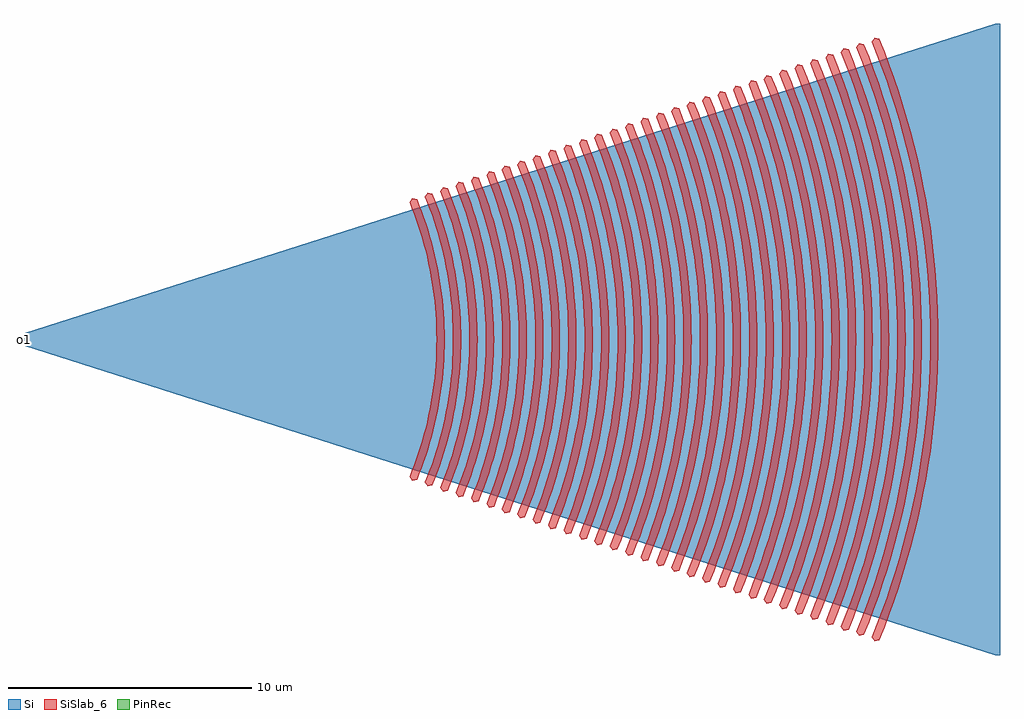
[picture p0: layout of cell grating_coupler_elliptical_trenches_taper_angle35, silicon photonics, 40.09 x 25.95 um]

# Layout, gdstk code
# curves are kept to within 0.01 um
import gdstk
lib = gdstk.Library(unit=1e-6, precision=1e-09)
def P(c, l, *ps):  # polygons
    for p in ps: c.add(gdstk.Polygon(p, *l))
Si = (1, 0)
PinRec = (1, 10)
SiSlab_6 = (2, 6)

grating_coupler_elliptic = lib.new_cell('grating_coupler_elliptical_trenches_taper_angle35')
P(grating_coupler_elliptic, Si, [(0.471,-0.25),(0.471,0.25),(40.352,12.973),(40.552,12.973),(40.552,-12.973),(40.352,-12.973)])
P(grating_coupler_elliptic, SiSlab_6, [(16.414,-5.811),(16.3,-5.646),(16.58,-4.905),(16.82,-4.153),(17.02,-3.389),(17.178,-2.617),(17.296,-1.836),(17.351,-1.313),(17.401,-0.526),(17.409,0),(17.401,0.526),(17.351,1.313),(17.296,1.836),(17.178,2.617),(17.02,3.389),(16.82,4.153),(16.58,4.905),(16.3,5.646),(16.414,5.811),(16.61,5.77),(16.981,4.76),(17.14,4.247),(17.344,3.465),(17.506,2.675),(17.658,1.611),(17.721,0.806),(17.743,0),(17.721,-0.806),(17.658,-1.611),(17.506,-2.675),(17.344,-3.465),(17.14,-4.247),(16.981,-4.76),(16.61,-5.77)],
  [(17.047,-6.03),(16.933,-5.866),(17.224,-5.096),(17.473,-4.315),(17.68,-3.521),(17.845,-2.718),(17.968,-1.907),(18.025,-1.364),(18.064,-0.819),(18.085,0),(18.064,0.819),(18.025,1.364),(17.968,1.907),(17.845,2.718),(17.68,3.521),(17.473,4.315),(17.224,5.096),(16.933,5.866),(17.047,6.03),(17.243,5.988),(17.444,5.469),(17.793,4.407),(18.066,3.325),(18.219,2.501),(18.33,1.671),(18.396,0.837),(18.419,0),(18.396,-0.837),(18.33,-1.671),(18.219,-2.501),(18.066,-3.325),(17.793,-4.407),(17.444,-5.469),(17.243,-5.988)],
  [(17.68,-6.25),(17.566,-6.086),(17.868,-5.287),(18.126,-4.477),(18.341,-3.653),(18.512,-2.82),(18.602,-2.261),(18.699,-1.415),(18.752,-0.567),(18.761,0),(18.752,0.567),(18.699,1.415),(18.602,2.261),(18.512,2.82),(18.341,3.653),(18.126,4.477),(17.868,5.287),(17.566,6.086),(17.68,6.25),(17.876,6.208),(17.982,5.94),(18.182,5.397),(18.363,4.846),(18.524,4.291),(18.665,3.729),(18.84,2.878),(18.932,2.307),(19.003,1.733),(19.071,0.868),(19.095,0),(19.071,-0.868),(19.003,-1.733),(18.932,-2.307),(18.84,-2.878),(18.665,-3.729),(18.524,-4.291),(18.363,-4.846),(18.182,-5.397),(17.982,-5.94),(17.876,-6.208)],
  [(18.313,-6.469),(18.199,-6.304),(18.512,-5.478),(18.779,-4.638),(19.002,-3.785),(19.179,-2.922),(19.311,-2.051),(19.373,-1.466),(19.428,-0.587),(19.437,0),(19.428,0.587),(19.373,1.466),(19.311,2.051),(19.179,2.922),(19.002,3.785),(18.779,4.638),(18.512,5.478),(18.199,6.304),(18.313,6.469),(18.509,6.428),(18.619,6.15),(18.826,5.588),(19.013,5.018),(19.18,4.441),(19.326,3.861),(19.507,2.98),(19.602,2.388),(19.676,1.794),(19.746,0.898),(19.771,0),(19.746,-0.898),(19.676,-1.794),(19.602,-2.388),(19.507,-2.98),(19.326,-3.861),(19.18,-4.441),(19.013,-5.018),(18.826,-5.588),(18.619,-6.15),(18.509,-6.428)],
  [(18.946,-6.689),(18.832,-6.525),(19.155,-5.668),(19.432,-4.8),(19.663,-3.917),(19.846,-3.024),(19.983,-2.121),(20.046,-1.517),(20.09,-0.911),(20.113,0),(20.09,0.911),(20.046,1.517),(19.983,2.121),(19.846,3.024),(19.663,3.917),(19.432,4.8),(19.155,5.668),(18.832,6.525),(18.946,6.689),(19.142,6.647),(19.365,6.07),(19.569,5.485),(19.752,4.892),(20.055,3.69),(20.225,2.776),(20.349,1.855),(20.422,0.929),(20.447,0),(20.422,-0.929),(20.349,-1.855),(20.225,-2.776),(20.055,-3.69),(19.752,-4.892),(19.569,-5.485),(19.365,-6.07),(19.142,-6.647)],
  [(19.579,-6.908),(19.465,-6.744),(19.799,-5.859),(20.085,-4.961),(20.324,-4.048),(20.513,-3.125),(20.654,-2.194),(20.72,-1.568),(20.779,-0.628),(20.789,0),(20.779,0.628),(20.72,1.568),(20.654,2.194),(20.513,3.125),(20.324,4.048),(20.085,4.961),(19.799,5.859),(19.465,6.744),(19.579,6.908),(19.775,6.866),(20.005,6.27),(20.216,5.666),(20.405,5.053),(20.572,4.436),(20.718,3.812),(20.894,2.868),(21.021,1.917),(21.097,0.96),(21.123,0),(21.097,-0.96),(21.021,-1.917),(20.894,-2.868),(20.718,-3.812),(20.572,-4.436),(20.405,-5.053),(20.216,-5.666),(20.005,-6.27),(19.775,-6.866)],
  [(20.212,-7.128),(20.098,-6.964),(20.443,-6.05),(20.738,-5.123),(20.984,-4.18),(21.18,-3.227),(21.326,-2.265),(21.394,-1.619),(21.44,-0.972),(21.465,0),(21.44,0.972),(21.394,1.619),(21.326,2.265),(21.18,3.227),(20.984,4.18),(20.738,5.123),(20.443,6.05),(20.098,6.964),(20.212,7.128),(20.408,7.086),(20.646,6.471),(20.863,5.847),(21.058,5.215),(21.23,4.578),(21.381,3.934),(21.563,2.959),(21.694,1.978),(21.772,0.99),(21.799,0),(21.772,-0.99),(21.694,-1.978),(21.563,-2.959),(21.381,-3.934),(21.23,-4.578),(21.058,-5.215),(20.863,-5.847),(20.646,-6.471),(20.408,-7.086)],
  [(20.844,-7.347),(20.73,-7.182),(21.087,-6.241),(21.391,-5.284),(21.645,-4.312),(21.847,-3.329),(21.953,-2.668),(22.068,-1.67),(22.13,-0.669),(22.141,0),(22.13,0.669),(22.068,1.67),(21.953,2.668),(21.847,3.329),(21.645,4.312),(21.391,5.284),(21.087,6.241),(20.73,7.182),(20.844,7.347),(21.04,7.306),(21.286,6.672),(21.51,6.028),(21.711,5.376),(21.889,4.719),(22.044,4.056),(22.231,3.051),(22.367,2.039),(22.447,1.021),(22.475,0),(22.447,-1.021),(22.367,-2.039),(22.231,-3.051),(22.044,-4.056),(21.889,-4.719),(21.711,-5.376),(21.51,-6.028),(21.286,-6.672),(21.04,-7.306)],
  [(21.477,-7.567),(21.363,-7.402),(21.73,-6.432),(22.044,-5.446),(22.306,-4.444),(22.514,-3.431),(22.669,-2.407),(22.741,-1.721),(22.806,-0.689),(22.817,0),(22.806,0.689),(22.741,1.721),(22.669,2.407),(22.514,3.431),(22.306,4.444),(22.044,5.446),(21.73,6.432),(21.363,7.402),(21.477,7.567),(21.673,7.526),(21.926,6.871),(22.157,6.209),(22.364,5.538),(22.547,4.861),(22.707,4.177),(22.9,3.143),(23.04,2.1),(23.122,1.052),(23.151,0),(23.122,-1.052),(23.04,-2.1),(22.9,-3.143),(22.707,-4.177),(22.547,-4.861),(22.364,-5.538),(22.157,-6.209),(21.926,-6.871),(21.673,-7.526)],
  [(22.11,-7.786),(21.996,-7.621),(22.374,-6.622),(22.697,-5.607),(22.967,-4.576),(23.181,-3.533),(23.341,-2.48),(23.415,-1.773),(23.466,-1.064),(23.493,0),(23.466,1.064),(23.415,1.773),(23.341,2.48),(23.181,3.533),(22.967,4.576),(22.697,5.607),(22.374,6.622),(21.996,7.621),(22.11,7.786),(22.306,7.745),(22.566,7.072),(22.804,6.39),(23.017,5.699),(23.206,5.003),(23.37,4.299),(23.569,3.234),(23.712,2.161),(23.798,1.082),(23.827,0),(23.798,-1.082),(23.712,-2.161),(23.569,-3.234),(23.37,-4.299),(23.206,-5.003),(23.017,-5.699),(22.804,-6.39),(22.566,-7.072),(22.306,-7.745)],
  [(22.743,-8.006),(22.629,-7.842),(23.018,-6.813),(23.35,-5.769),(23.628,-4.708),(23.848,-3.634),(23.964,-2.913),(24.089,-1.824),(24.141,-1.095),(24.169,0),(24.141,1.095),(24.089,1.824),(23.964,2.913),(23.848,3.634),(23.628,4.708),(23.35,5.769),(23.018,6.813),(22.629,7.842),(22.743,8.006),(22.939,7.964),(23.207,7.273),(23.451,6.571),(23.67,5.861),(23.864,5.145),(24.033,4.421),(24.238,3.326),(24.385,2.223),(24.473,1.113),(24.503,0),(24.473,-1.113),(24.385,-2.223),(24.238,-3.326),(24.033,-4.421),(23.864,-5.145),(23.67,-5.861),(23.451,-6.571),(23.207,-7.273),(22.939,-7.964)],
  [(23.376,-8.225),(23.262,-8.06),(23.662,-7.004),(24.003,-5.93),(24.289,-4.839),(24.515,-3.736),(24.684,-2.622),(24.763,-1.875),(24.833,-0.751),(24.845,0),(24.833,0.751),(24.763,1.875),(24.684,2.622),(24.515,3.736),(24.289,4.839),(24.003,5.93),(23.662,7.004),(23.262,8.06),(23.376,8.225),(23.572,8.184),(23.847,7.474),(24.098,6.752),(24.323,6.022),(24.522,5.286),(24.696,4.543),(24.906,3.418),(25.058,2.284),(25.148,1.144),(25.179,0),(25.148,-1.144),(25.058,-2.284),(24.906,-3.418),(24.696,-4.543),(24.522,-5.286),(24.323,-6.022),(24.098,-6.752),(23.847,-7.474),(23.572,-8.184)],
  [(24.009,-8.445),(23.895,-8.28),(24.305,-7.195),(24.657,-6.092),(24.949,-4.971),(25.182,-3.838),(25.355,-2.693),(25.436,-1.926),(25.508,-0.771),(25.521,0),(25.508,0.771),(25.436,1.926),(25.355,2.693),(25.182,3.838),(24.949,4.971),(24.657,6.092),(24.305,7.195),(23.895,8.28),(24.009,8.445),(24.205,8.404),(24.619,7.305),(24.977,6.184),(25.181,5.428),(25.359,4.665),(25.575,3.509),(25.731,2.346),(25.823,1.174),(25.855,0),(25.823,-1.174),(25.731,-2.346),(25.575,-3.509),(25.359,-4.665),(25.181,-5.428),(24.977,-6.184),(24.619,-7.305),(24.205,-8.404)],
  [(24.642,-8.664),(24.528,-8.499),(24.949,-7.386),(25.31,-6.253),(25.61,-5.103),(25.849,-3.94),(26.027,-2.764),(26.11,-1.977),(26.184,-0.792),(26.197,0),(26.184,0.792),(26.11,1.977),(26.027,2.764),(25.849,3.94),(25.61,5.103),(25.31,6.253),(24.949,7.386),(24.528,8.499),(24.642,8.664),(24.838,8.623),(25.263,7.496),(25.63,6.345),(25.839,5.57),(26.022,4.787),(26.244,3.601),(26.404,2.407),(26.498,1.205),(26.531,0),(26.498,-1.205),(26.404,-2.407),(26.244,-3.601),(26.022,-4.787),(25.839,-5.57),(25.63,-6.345),(25.263,-7.496),(24.838,-8.623)],
  [(25.275,-8.884),(25.161,-8.72),(25.593,-7.576),(25.963,-6.415),(26.271,-5.235),(26.516,-4.041),(26.645,-3.239),(26.784,-2.028),(26.86,-0.812),(26.873,0),(26.86,0.812),(26.784,2.028),(26.645,3.239),(26.516,4.041),(26.271,5.235),(25.963,6.415),(25.593,7.576),(25.161,8.72),(25.275,8.884),(25.471,8.842),(25.907,7.686),(26.283,6.507),(26.498,5.712),(26.686,4.908),(26.912,3.693),(27.076,2.468),(27.174,1.236),(27.207,0),(27.174,-1.236),(27.076,-2.468),(26.912,-3.693),(26.686,-4.908),(26.498,-5.712),(26.283,-6.507),(25.907,-7.686),(25.471,-8.842)],
  [(25.908,-9.103),(25.794,-8.939),(26.237,-7.767),(26.616,-6.576),(26.932,-5.367),(27.183,-4.143),(27.315,-3.321),(27.458,-2.079),(27.517,-1.248),(27.549,0),(27.517,1.248),(27.458,2.079),(27.315,3.321),(27.183,4.143),(26.932,5.367),(26.616,6.576),(26.237,7.767),(25.794,8.939),(25.908,9.103),(26.104,9.061),(26.551,7.877),(26.936,6.668),(27.156,5.853),(27.349,5.03),(27.581,3.784),(27.749,2.529),(27.849,1.266),(27.883,0),(27.849,-1.266),(27.749,-2.529),(27.581,-3.784),(27.349,-5.03),(27.156,-5.853),(26.936,-6.668),(26.551,-7.877),(26.104,-9.061)],
  [(26.54,-9.323),(26.426,-9.158),(26.88,-7.958),(27.269,-6.738),(27.593,-5.498),(27.85,-4.245),(28.042,-2.978),(28.131,-2.13),(28.211,-0.853),(28.225,0),(28.211,0.853),(28.131,2.13),(28.042,2.978),(27.85,4.245),(27.593,5.498),(27.269,6.738),(26.88,7.958),(26.426,9.158),(26.54,9.323),(26.736,9.282),(27.194,8.068),(27.465,7.245),(27.706,6.413),(28.012,5.152),(28.25,3.876),(28.422,2.59),(28.524,1.297),(28.559,0),(28.524,-1.297),(28.422,-2.59),(28.25,-3.876),(28.012,-5.152),(27.706,-6.413),(27.465,-7.245),(27.194,-8.068),(26.736,-9.282)],
  [(27.173,-9.542),(27.059,-9.377),(27.524,-8.149),(27.922,-6.9),(28.254,-5.63),(28.517,-4.347),(28.713,-3.05),(28.805,-2.181),(28.867,-1.31),(28.901,0),(28.867,1.31),(28.805,2.181),(28.713,3.05),(28.517,4.347),(28.254,5.63),(27.922,6.9),(27.524,8.149),(27.059,9.377),(27.173,9.542),(27.369,9.501),(27.838,8.259),(28.115,7.416),(28.362,6.565),(28.675,5.274),(28.919,3.968),(29.095,2.652),(29.199,1.328),(29.235,0),(29.199,-1.328),(29.095,-2.652),(28.919,-3.968),(28.675,-5.274),(28.362,-6.565),(28.115,-7.416),(27.838,-8.259),(27.369,-9.501)],
  [(27.806,-9.762),(27.692,-9.597),(28.168,-8.339),(28.575,-7.061),(28.914,-5.762),(29.184,-4.448),(29.385,-3.122),(29.479,-2.232),(29.562,-0.894),(29.577,0),(29.562,0.894),(29.479,2.232),(29.385,3.122),(29.184,4.448),(28.914,5.762),(28.575,7.061),(28.168,8.339),(27.692,9.597),(27.806,9.762),(28.002,9.721),(28.482,8.449),(28.895,7.153),(29.131,6.279),(29.338,5.396),(29.587,4.06),(29.767,2.713),(29.874,1.358),(29.911,0),(29.874,-1.358),(29.767,-2.713),(29.587,-4.06),(29.338,-5.396),(29.131,-6.279),(28.895,-7.153),(28.482,-8.449),(28.002,-9.721)],
  [(28.439,-9.981),(28.325,-9.816),(28.812,-8.53),(29.228,-7.223),(29.575,-5.894),(29.851,-4.55),(29.996,-3.647),(30.153,-2.283),(30.238,-0.914),(30.253,0),(30.238,0.914),(30.153,2.283),(29.996,3.647),(29.851,4.55),(29.575,5.894),(29.228,7.223),(28.812,8.53),(28.325,9.816),(28.439,9.981),(28.635,9.94),(29.126,8.64),(29.548,7.315),(29.79,6.42),(30.001,5.518),(30.256,4.151),(30.44,2.774),(30.549,1.389),(30.587,0),(30.549,-1.389),(30.44,-2.774),(30.256,-4.151),(30.001,-5.518),(29.673,-6.869),(29.415,-7.759),(29.126,-8.64),(28.635,-9.94)],
  [(29.072,-10.201),(28.958,-10.037),(29.455,-8.721),(29.881,-7.384),(30.236,-6.026),(30.518,-4.652),(30.728,-3.264),(30.826,-2.334),(30.893,-1.402),(30.929,0),(30.893,1.402),(30.826,2.334),(30.728,3.264),(30.518,4.652),(30.236,6.026),(29.881,7.384),(29.455,8.721),(28.958,10.037),(29.072,10.201),(29.268,10.159),(29.769,8.831),(30.065,7.93),(30.329,7.02),(30.664,5.639),(30.925,4.243),(31.113,2.836),(31.225,1.42),(31.263,0),(31.225,-1.42),(31.113,-2.836),(30.925,-4.243),(30.664,-5.639),(30.329,-7.02),(30.065,-7.93),(29.769,-8.831),(29.268,-10.159)],
  [(29.705,-10.42),(29.591,-10.255),(30.099,-8.912),(30.534,-7.546),(30.897,-6.158),(31.185,-4.754),(31.4,-3.336),(31.5,-2.385),(31.568,-1.432),(31.605,0),(31.589,0.955),(31.5,2.385),(31.4,3.336),(31.185,4.754),(30.897,6.158),(30.534,7.546),(30.099,8.912),(29.591,10.255),(29.705,10.42),(29.901,10.379),(30.413,9.022),(30.715,8.102),(30.985,7.172),(31.327,5.761),(31.593,4.335),(31.786,2.896),(31.9,1.45),(31.939,0),(31.9,-1.45),(31.786,-2.896),(31.593,-4.335),(31.327,-5.761),(30.985,-7.172),(30.715,-8.102),(30.413,-9.022),(29.901,-10.379)],
  [(30.338,-10.64),(30.224,-10.475),(30.743,-9.103),(31.187,-7.707),(31.558,-6.289),(31.852,-4.855),(32.071,-3.407),(32.174,-2.437),(32.265,-0.976),(32.281,0),(32.265,0.976),(32.174,2.437),(32.071,3.407),(31.852,4.855),(31.558,6.289),(31.187,7.707),(30.743,9.103),(30.224,10.475),(30.338,10.64),(30.534,10.599),(31.057,9.213),(31.365,8.273),(31.641,7.324),(31.99,5.883),(32.262,4.426),(32.458,2.958),(32.575,1.481),(32.615,0),(32.575,-1.481),(32.458,-2.958),(32.262,-4.426),(31.99,-5.883),(31.641,-7.324),(31.365,-8.273),(31.057,-9.213),(30.534,-10.599)],
  [(30.971,-10.859),(30.857,-10.695),(31.387,-9.293),(31.84,-7.869),(32.219,-6.421),(32.519,-4.957),(32.743,-3.479),(32.848,-2.488),(32.94,-0.996),(32.957,0),(32.94,0.996),(32.848,2.488),(32.743,3.479),(32.519,4.957),(32.219,6.421),(31.84,7.869),(31.387,9.293),(30.857,10.695),(30.971,10.859),(31.167,10.817),(31.701,9.403),(32.015,8.444),(32.297,7.476),(32.653,6.005),(32.931,4.518),(33.131,3.019),(33.25,1.512),(33.291,0),(33.25,-1.512),(33.131,-3.019),(32.931,-4.518),(32.653,-6.005),(32.297,-7.476),(32.015,-8.444),(31.701,-9.403),(31.167,-10.817)],
  [(31.604,-11.079),(31.49,-10.915),(32.03,-9.484),(32.493,-8.03),(32.879,-6.553),(33.186,-5.059),(33.347,-4.055),(33.521,-2.539),(33.616,-1.017),(33.633,0),(33.616,1.017),(33.521,2.539),(33.347,4.055),(33.186,5.059),(32.879,6.553),(32.493,8.03),(32.03,9.484),(31.49,10.915),(31.604,11.079),(31.8,11.037),(32.344,9.594),(32.666,8.615),(32.952,7.627),(33.316,6.127),(33.6,4.61),(33.804,3.081),(33.925,1.542),(33.967,0),(33.925,-1.542),(33.804,-3.081),(33.6,-4.61),(33.316,-6.127),(32.952,-7.627),(32.666,-8.615),(32.344,-9.594),(31.8,-11.037)],
  [(32.237,-11.298),(32.123,-11.133),(32.674,-9.675),(33.146,-8.192),(33.54,-6.685),(33.853,-5.161),(34.086,-3.621),(34.195,-2.59),(34.292,-1.037),(34.309,0),(34.292,1.037),(34.195,2.59),(34.086,3.621),(33.853,5.161),(33.54,6.685),(33.146,8.192),(32.674,9.675),(32.123,11.133),(32.237,11.298),(32.433,11.257),(32.988,9.785),(33.316,8.787),(33.608,7.779),(33.979,6.249),(34.268,4.701),(34.477,3.142),(34.601,1.573),(34.643,0),(34.601,-1.573),(34.477,-3.142),(34.268,-4.701),(33.979,-6.249),(33.608,-7.779),(33.316,-8.787),(32.988,-9.785),(32.433,-11.257)],
  [(32.869,-11.518),(32.755,-11.353),(33.318,-9.866),(33.799,-8.353),(34.077,-7.331),(34.201,-6.817),(34.52,-5.262),(34.758,-3.694),(34.869,-2.641),(34.944,-1.586),(34.985,0),(34.944,1.586),(34.869,2.641),(34.758,3.694),(34.52,5.262),(34.201,6.817),(34.077,7.331),(33.799,8.353),(33.318,9.866),(32.755,11.353),(32.869,11.518),(33.065,11.477),(33.632,9.976),(33.966,8.958),(34.264,7.931),(34.642,6.37),(34.937,4.793),(35.149,3.203),(35.276,1.604),(35.319,0),(35.276,-1.604),(35.149,-3.203),(34.937,-4.793),(34.642,-6.37),(34.264,-7.931),(33.966,-8.958),(33.632,-9.976),(33.065,-11.477)],
  [(33.502,-11.738),(33.388,-11.573),(33.962,-10.056),(34.453,-8.515),(34.862,-6.949),(35.089,-5.894),(35.187,-5.364),(35.358,-4.299),(35.543,-2.692),(35.643,-1.078),(35.661,0),(35.643,1.078),(35.543,2.692),(35.358,4.299),(35.187,5.364),(35.089,5.894),(34.862,6.949),(34.453,8.515),(33.962,10.056),(33.388,11.573),(33.502,11.738),(33.698,11.697),(34.276,10.166),(34.773,8.607),(35.057,7.555),(35.305,6.492),(35.606,4.885),(35.822,3.264),(35.875,2.722),(35.951,1.634),(35.995,0),(35.951,-1.634),(35.875,-2.722),(35.822,-3.264),(35.606,-4.885),(35.305,-6.492),(35.057,-7.555),(34.773,-8.607),(34.276,-10.166),(33.698,-11.697)],
  [(34.135,-11.957),(34.021,-11.792),(34.226,-11.28),(34.605,-10.247),(35.106,-8.676),(35.523,-7.08),(35.754,-6.006),(35.854,-5.466),(36.101,-3.835),(36.216,-2.743),(36.319,-1.098),(36.337,0),(36.319,1.098),(36.216,2.743),(36.101,3.835),(35.854,5.466),(35.754,6.006),(35.523,7.08),(35.106,8.676),(34.605,10.247),(34.226,11.28),(34.021,11.792),(34.135,11.957),(34.331,11.916),(34.919,10.357),(35.266,9.301),(35.576,8.233),(35.968,6.614),(36.08,6.07),(36.274,4.976),(36.358,4.428),(36.495,3.325),(36.626,1.665),(36.671,0),(36.626,-1.665),(36.495,-3.325),(36.358,-4.428),(36.274,-4.976),(36.182,-5.524),(35.968,-6.614),(35.576,-8.233),(35.266,-9.301),(34.919,-10.357),(34.331,-11.916)],
  [(34.768,-12.177),(34.654,-12.013),(35.249,-10.438),(35.759,-8.838),(35.91,-8.299),(36.183,-7.212),(36.419,-6.118),(36.521,-5.568),(36.615,-5.016),(36.772,-3.907),(36.89,-2.794),(36.935,-2.236),(36.994,-1.119),(37.013,0),(36.994,1.119),(36.935,2.236),(36.89,2.794),(36.772,3.907),(36.615,5.016),(36.521,5.568),(36.419,6.118),(36.183,7.212),(35.91,8.299),(35.759,8.838),(35.249,10.438),(34.654,12.013),(34.768,12.177),(34.964,12.135),(35.563,10.548),(35.916,9.472),(36.232,8.385),(36.375,7.838),(36.631,6.736),(36.745,6.182),(36.943,5.068),(37.028,4.509),(37.168,3.387),(37.267,2.26),(37.301,1.696),(37.347,0),(37.301,-1.696),(37.267,-2.26),(37.168,-3.387),(37.028,-4.509),(36.943,-5.068),(36.849,-5.626),(36.631,-6.736),(36.375,-7.838),(36.232,-8.385),(35.916,-9.472),(35.563,-10.548),(34.964,-12.135)],
  [(35.401,-12.396),(35.287,-12.231),(35.499,-11.7),(35.893,-10.629),(36.412,-8.999),(36.71,-7.898),(36.844,-7.344),(37.084,-6.23),(37.188,-5.669),(37.284,-5.108),(37.444,-3.979),(37.564,-2.845),(37.645,-1.708),(37.685,-0.57),(37.689,0),(37.67,1.139),(37.645,1.708),(37.564,2.845),(37.444,3.979),(37.284,5.108),(37.188,5.669),(37.084,6.23),(36.844,7.344),(36.71,7.898),(36.412,8.999),(35.893,10.629),(35.701,11.166),(35.287,12.231),(35.401,12.396),(35.597,12.355),(36.013,11.282),(36.207,10.739),(36.732,9.091),(37.032,7.98),(37.295,6.858),(37.612,5.16),(37.698,4.59),(37.84,3.448),(37.896,2.875),(37.977,1.726),(38.023,0),(37.977,-1.726),(37.896,-2.875),(37.84,-3.448),(37.698,-4.59),(37.612,-5.16),(37.295,-6.858),(37.032,-7.98),(36.732,-9.091),(36.207,-10.739),(36.013,-11.282),(35.597,-12.355)])
grating_coupler_elliptic.add(gdstk.FlexPath([(0.476,0),(0.466,0)], 0.5, ends="flush", simple_path=True, layer=1, datatype=10))  # PinRec
grating_coupler_elliptic.add(gdstk.Label('o1', (0.471,0), layer=1, texttype=10))

lib.write_gds('grating_coupler_elliptical_trenches_taper_angle35.gds')
